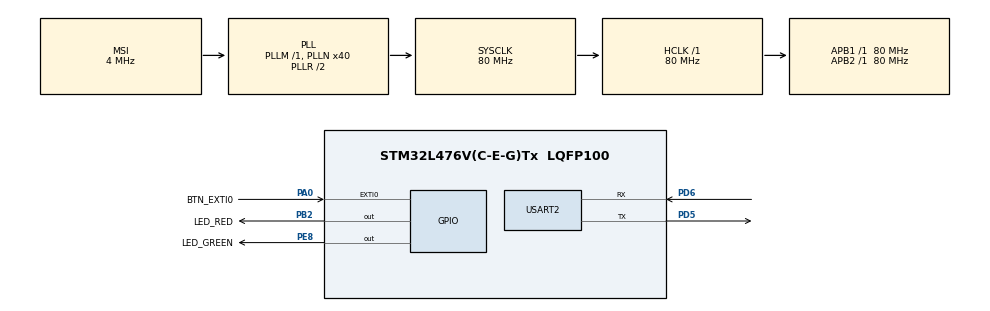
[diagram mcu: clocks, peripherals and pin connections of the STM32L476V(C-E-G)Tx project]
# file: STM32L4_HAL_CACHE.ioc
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Mcu.Family=STM32L4
Mcu.Name=STM32L476V(C-E-G)Tx
Mcu.Package=LQFP100
NVIC.PriorityGroup=NVIC_PRIORITYGROUP_4
PA0.GPIO_Label=BTN_EXTI0
PA0.Signal=GPXTI0
PA13\ (JTMS-SWDIO).Mode=Serial_Wire
PA13\ (JTMS-SWDIO).Signal=SYS_JTMS-SWDIO
PA14\ (JTCK-SWCLK).Mode=Serial_Wire
PA14\ (JTCK-SWCLK).Signal=SYS_JTCK-SWCLK
PB2.GPIO_Label=LED_RED
PB2.Signal=GPIO_Output
PC14-OSC32_IN\ (PC14).Mode=LSE-External-Oscillator
PC14-OSC32_IN\ (PC14).Signal=RCC_OSC32_IN
PC15-OSC32_OUT\ (PC15).Mode=LSE-External-Oscillator
PC15-OSC32_OUT\ (PC15).Signal=RCC_OSC32_OUT
PD5.Mode=Asynchronous
PD5.Signal=USART2_TX
PD6.Mode=Asynchronous
PD6.Signal=USART2_RX
PE8.GPIO_Label=LED_GREEN
PE8.Signal=GPIO_Output
ProjectManager.HeapSize=0x200
ProjectManager.StackSize=0x400
ProjectManager.TargetToolchain=STM32CubeIDE
RCC.ADCFreq_Value=48000000
RCC.AHBFreq_Value=80000000
RCC.APB1Freq_Value=80000000
RCC.APB1TimFreq_Value=80000000
RCC.APB2Freq_Value=80000000
RCC.APB2TimFreq_Value=80000000
RCC.CortexFreq_Value=80000000
RCC.HCLKFreq_Value=80000000
RCC.HSE_VALUE=8000000
RCC.HSI_VALUE=16000000
RCC.MSIAutoCalibration=ENABLED
RCC.MSI_VALUE=4000000
RCC.PLLN=40
RCC.PLLSAI1N=24
RCC.SYSCLKFreq_VALUE=80000000
RCC.SYSCLKSource=RCC_SYSCLKSOURCE_PLLCLK
RCC.USBFreq_Value=48000000
RCC.VCOOutputFreq_Value=160000000
USART2.VirtualMode-Asynchronous=VM_ASYNC
VP_CRC_VS_CRC.Mode=CRC_Activate
board=STM32L476G-DISCO

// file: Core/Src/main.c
/* USER CODE BEGIN Header */
/**
  ******************************************************************************
  * @file           : main.c
  * @brief          : Main program body
  ******************************************************************************
  * @attention
  *
  * Copyright (c) 2023 STMicroelectronics.
  * All rights reserved.
  *
  * This software is licensed under terms that can be found in the LICENSE file
  * in the root directory of this software component.
  * If no LICENSE file comes with this software, it is provided AS-IS.
  *
  ******************************************************************************
  */
/* USER CODE END Header */
#include "main.h"
#include "crc.h"
#include "usart.h"
#include "gpio.h"

/* USER CODE BEGIN Includes */
#include <stdio.h>
/* USER CODE END Includes */

/* USER CODE BEGIN PV */
uint32_t stime, etime, elapsed, primeCnt;
/* USER CODE END PV */

void SystemClock_Config(void);

/* USER CODE BEGIN 0 */

int _write(int file, char* p, int len)
{
  HAL_UART_Transmit(&huart2, (const uint8_t*)p, len, 10);
  return len;
}

uint8_t isPrimeNum(uint32_t num)
{
  if(num < 2) return 0;

  for(uint32_t i = 2; i*i <= num; i++)
  {
    if(num % i == 0) return 0;
  }

  return 1;
}

/* USER CODE END 0 */

int main(void)
{

  /* MCU Configuration--------------------------------------------------------*/

  /* Reset of all peripherals, Initializes the Flash interface and the Systick. */
  HAL_Init();

  /* Configure the system clock */
  SystemClock_Config();

  /* Initialize all configured peripherals */
  MX_GPIO_Init();
  MX_USART2_UART_Init();
  MX_CRC_Init();
  /* USER CODE BEGIN 2 */

  //__HAL_FLASH_INSTRUCTION_CACHE_DISABLE();
  //__HAL_FLASH_DATA_CACHE_DISABLE();

  primeCnt = 0;

  stime = HAL_GetTick();
  for(uint32_t i = 400000; i < 500000; i++)
  {
    if(isPrimeNum(i)) primeCnt++;
  }
  etime = HAL_GetTick();
  elapsed = etime - stime;

  printf("elaped time: %ld\r\n", elapsed);

  HAL_GPIO_WritePin(LED_GREEN_GPIO_Port, LED_GREEN_Pin, GPIO_PIN_SET);

  /* USER CODE END 2 */

  /* Infinite loop */
  while (1)
  {

  }
}

void SystemClock_Config(void)
{
  RCC_OscInitTypeDef RCC_OscInitStruct = {0};
  RCC_ClkInitTypeDef RCC_ClkInitStruct = {0};

  /** Configure the main internal regulator output voltage
  */
  if (HAL_PWREx_ControlVoltageScaling(PWR_REGULATOR_VOLTAGE_SCALE1) != HAL_OK)
  {
    Error_Handler();
  }

  /** Configure LSE Drive Capability
  */
  HAL_PWR_EnableBkUpAccess();
  __HAL_RCC_LSEDRIVE_CONFIG(RCC_LSEDRIVE_LOW);

  /** Initializes the RCC Oscillators according to the specified parameters
  * in the RCC_OscInitTypeDef structure.
  */
  RCC_OscInitStruct.OscillatorType = RCC_OSCILLATORTYPE_LSE|RCC_OSCILLATORTYPE_MSI;
  RCC_OscInitStruct.LSEState = RCC_LSE_ON;
  RCC_OscInitStruct.MSIState = RCC_MSI_ON;
  RCC_OscInitStruct.MSICalibrationValue = 0;
  RCC_OscInitStruct.MSIClockRange = RCC_MSIRANGE_6;
  RCC_OscInitStruct.PLL.PLLState = RCC_PLL_ON;
  RCC_OscInitStruct.PLL.PLLSource = RCC_PLLSOURCE_MSI;
  RCC_OscInitStruct.PLL.PLLM = 1;
  RCC_OscInitStruct.PLL.PLLN = 40;
  RCC_OscInitStruct.PLL.PLLP = RCC_PLLP_DIV7;
  RCC_OscInitStruct.PLL.PLLQ = RCC_PLLQ_DIV2;
  RCC_OscInitStruct.PLL.PLLR = RCC_PLLR_DIV2;
  if (HAL_RCC_OscConfig(&RCC_OscInitStruct) != HAL_OK)
  {
    Error_Handler();
  }

  /** Initializes the CPU, AHB and APB buses clocks
  */
  RCC_ClkInitStruct.ClockType = RCC_CLOCKTYPE_HCLK|RCC_CLOCKTYPE_SYSCLK
                              |RCC_CLOCKTYPE_PCLK1|RCC_CLOCKTYPE_PCLK2;
  RCC_ClkInitStruct.SYSCLKSource = RCC_SYSCLKSOURCE_PLLCLK;
  RCC_ClkInitStruct.AHBCLKDivider = RCC_SYSCLK_DIV1;
  RCC_ClkInitStruct.APB1CLKDivider = RCC_HCLK_DIV1;
  RCC_ClkInitStruct.APB2CLKDivider = RCC_HCLK_DIV1;

  if (HAL_RCC_ClockConfig(&RCC_ClkInitStruct, FLASH_LATENCY_4) != HAL_OK)
  {
    Error_Handler();
  }

  /** Enable MSI Auto calibration
  */
  HAL_RCCEx_EnableMSIPLLMode();
}

void Error_Handler(void)
{
  __disable_irq();
  while (1)
  {
  }
}
